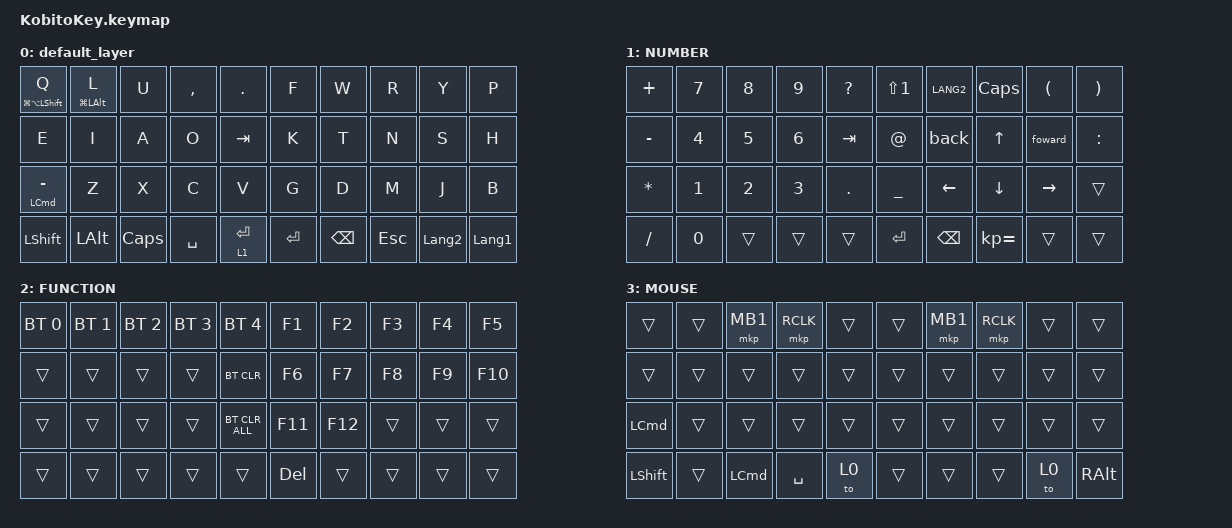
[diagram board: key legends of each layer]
#include <input/processors.dtsi>
#include <behaviors.dtsi>
#include <dt-bindings/zmk/bt.h>
#include <dt-bindings/zmk/keys.h>
#include <dt-bindings/zmk/pointing.h>

/ {
    combos {
        compatible = "zmk,combos";

        combo_eisu {
            timeout-ms = <50>;
            key-positions = <12 13>;
            bindings = <&kp LANG2>;
        };

        combo_kana {
            timeout-ms = <50>;
            key-positions = <16 17>;
            bindings = <&kp LANG1>;
        };

        combo_esc {
            timeout-ms = <50>;
            key-positions = <0 1>;
            bindings = <&kp ESC>;
        };

        combo_tab {
            timeout-ms = <50>;
            key-positions = <10 11>;
            bindings = <&kp TAB>;
        };
    };

    macros {
        back: back {
            compatible = "zmk,behavior-macro";
            #binding-cells = <0>;
            bindings =
                <&macro_press>,
                <&kp LEFT_COMMAND>,
                <&macro_tap>,
                <&kp LBKT>,
                <&macro_release>,
                <&kp LEFT_COMMAND>;

            label = "BACK";
        };

        foward: foward {
            compatible = "zmk,behavior-macro";
            #binding-cells = <0>;
            bindings =
                <&macro_press>,
                <&kp LEFT_COMMAND>,
                <&macro_tap>,
                <&kp RBKT>,
                <&macro_release>,
                <&kp LEFT_COMMAND>;

            label = "FOWARD";
        };
    };

    keymap {
        compatible = "zmk,keymap";

        default_layer {
            bindings = <
&mt LG(LA(LSHFT)) Q     &mt LG(LEFT_ALT) L  &kp U     &kp COMMA  &kp PERIOD   &kp F      &kp W          &kp R    &kp Y           &kp P
&kp E                   &kp I               &kp A     &kp O      &kp TAB      &kp K      &kp T          &kp N    &kp S           &kp H
&mt LEFT_COMMAND MINUS  &kp Z               &kp X     &kp C      &kp V        &kp G      &kp D          &kp M    &kp J           &kp B
&kp LSHFT               &kp LALT            &kp CAPS  &kp SPACE  &lt 1 ENTER  &kp ENTER  &kp BACKSPACE  &kp ESC  &kp LANGUAGE_2  &kp LANGUAGE_1
            >;
        };

        layer1 {
            label = "NUMBER";
            bindings = <
&kp PLUS      &kp N7  &kp N8  &kp N9  &kp QUESTION  &kp LS(NUMBER_1)  &kp LANG2      &kp CAPSLOCK  &kp LEFT_PARENTHESIS  &kp RIGHT_PARENTHESIS
&kp MINUS     &kp N4  &kp N5  &kp N6  &kp TAB       &kp AT_SIGN       &back          &kp UP        &foward               &kp COLON
&kp ASTERISK  &kp N1  &kp N2  &kp N3  &kp PERIOD    &kp UNDERSCORE    &kp LEFT       &kp DOWN      &kp RIGHT             &trans
&kp SLASH     &kp N0  &trans  &trans  &trans        &kp ENTER         &kp BACKSPACE  &kp KP_EQUAL  &trans                &trans
            >;
        };

        layer2 {
            label = "FUNCTION";
            bindings = <
&bt BT_SEL 0  &bt BT_SEL 1  &bt BT_SEL 2  &bt BT_SEL 3  &bt BT_SEL 4    &kp F1   &kp F2   &kp F3  &kp F4  &kp F5
&trans        &trans        &trans        &trans        &bt BT_CLR      &kp F6   &kp F7   &kp F8  &kp F9  &kp F10
&trans        &trans        &trans        &trans        &bt BT_CLR_ALL  &kp F11  &kp F12  &trans  &trans  &trans
&trans        &trans        &trans        &trans        &trans          &kp DEL  &trans   &trans  &trans  &trans
            >;
        };

        layer3 {
            label = "MOUSE";
            bindings = <
&trans            &trans  &mkp MB1  &mkp RCLK  &trans  &trans  &mkp MB1  &mkp RCLK  &trans  &trans
&trans            &trans  &trans    &trans     &trans  &trans  &trans    &trans     &trans  &trans
&kp LEFT_COMMAND  &trans  &trans    &trans     &trans  &trans  &trans    &trans     &trans  &trans
&kp LSHFT         &trans  &kp LCMD  &kp SPACE  &to 0   &trans  &trans    &trans     &to 0   &kp RALT
            >;
        };
    };
};
